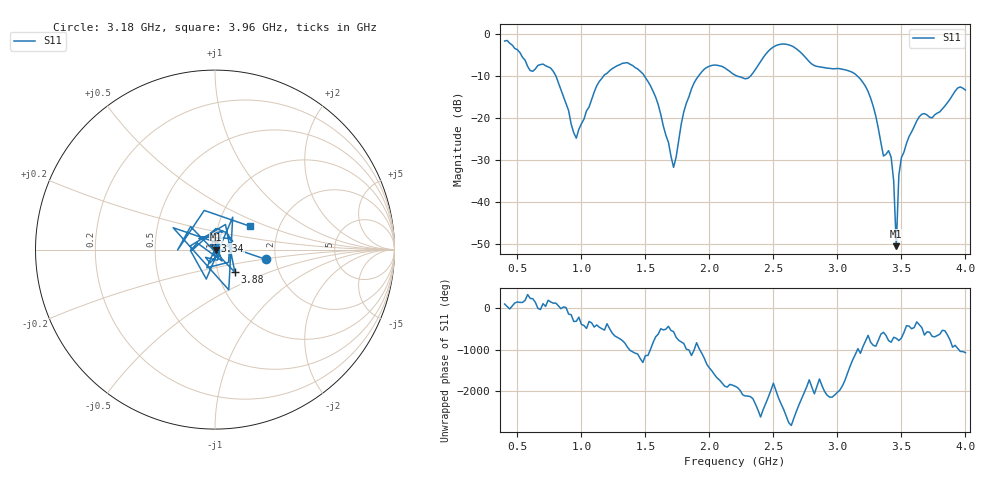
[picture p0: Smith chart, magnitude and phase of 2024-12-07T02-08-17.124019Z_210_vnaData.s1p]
!Created with skrf (http://scikit-rf.org).
# Hz S RI R 50.0
!freq ReS11 ImS11
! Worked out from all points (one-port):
!   181 points, 400 MHz to 4 GHz, reference 50 ohm
!   lowest |S11| = -50.5 dB at 3.46 GHz (marker M1), VSWR 1.01, Z = 50.3 - j0.0553 ohm
!   |S11| at or under -10 dB: 800.5 MHz to 1.174 GHz (373.7 MHz wide, 37.9 % of centre); 1.491 GHz to 1.916 GHz (424.7 MHz wide, 24.9 % of centre); 3.154 GHz to end of sweep (the widest 3 of 4)
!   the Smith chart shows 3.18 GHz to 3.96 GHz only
!   S11 on the Smith chart (normalised r, x): 3.18 GHz: 1.78, -0.21; 3.34 GHz: 0.99, +0.10; 3.88 GHz: 1.20, -0.31; 3.96 GHz: 1.42, +0.39
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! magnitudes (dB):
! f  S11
! 400 MHz  -1.7
! 600 MHz  -8.8
! 760 MHz  -8.1
! 860 MHz  -15.0
! 960 MHz  -24.8
! 1.14 GHz  -11.3
! 1.3 GHz  -7.3
! 1.54 GHz  -12.4
! 1.72 GHz  -31.8
! 1.76 GHz  -25.4
! 1.82 GHz  -16.5
! 1.94 GHz  -9.1
! 2.2 GHz  -9.8
! 2.52 GHz  -2.8
! 2.66 GHz  -3.2
! 3.1 GHz  -8.9
! 3.18 GHz  -10.8
! 3.26 GHz  -15.3
! 3.34 GHz  -25.9
! 3.42 GHz  -29.4
! 3.44 GHz  -35.1
! 3.46 GHz  -50.5
! 3.48 GHz  -33.7
! 3.56 GHz  -24.4
! 3.66 GHz  -19.1
! 3.88 GHz  -15.5
! 3.96 GHz  -12.6
! 4 GHz  -13.4
